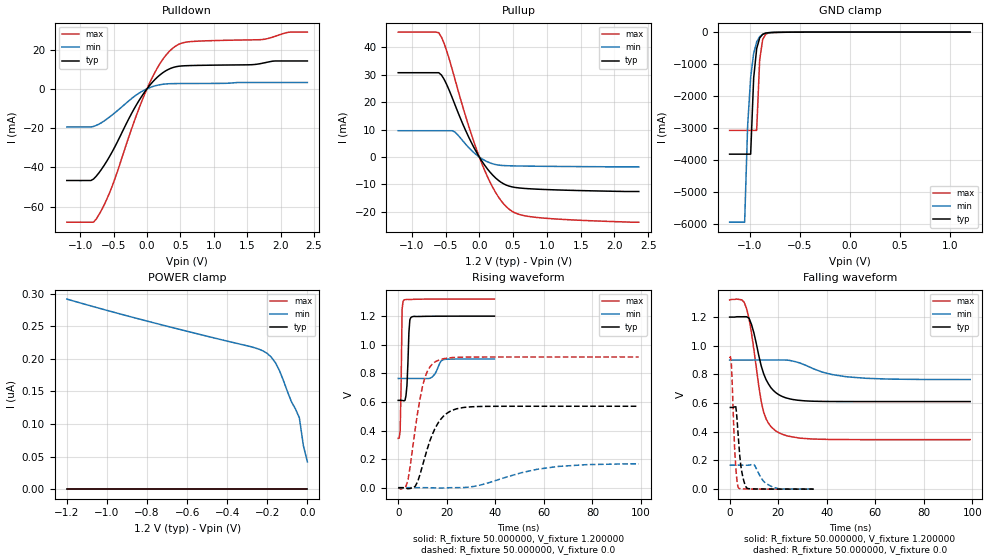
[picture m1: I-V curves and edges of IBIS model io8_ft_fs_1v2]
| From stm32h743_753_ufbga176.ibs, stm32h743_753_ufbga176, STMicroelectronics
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|   Model io8_ft_fs_1v2
[Model]  io8_ft_fs_1v2
Model_type I/O
Polarity   Non-Inverting
Enable   Active-Low
Vinl =   0.360000V
Vinh =   0.840000V
Vmeas =  0.600000V
Cref =   50.000000pF
Rref =   100.000000M
Vref =   0.0V
C_comp   2.988100pF   2.964800pF   3.005000pF
[Temperature Range]   25.000000   0.140000k   -40.000000
[Pullup Reference]   1.200000V   0.900000V   1.320000V
[Pulldown Reference]   0.0V   0.0V   0.0V
[POWER Clamp Reference]   1.200000V   0.900000V   1.320000V
[GND Clamp Reference]   0.0V   0.0V   0.0V
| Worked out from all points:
|   slope of the pulldown table from 0 to 0.18 V, typ, clamps not added: 27 ohm
|   slope of the pullup table from 0 to 0.18 V, typ, clamps not added: 29.5 ohm
|   GND clamp passes 1 mA (typ) near -0.49 V on its own axis
|   rising waveform, R_fixture 50.000000, V_fixture 1.200000: 20-80 % time 761ps typ, 2.3ns min, 530ps max; typ from 0.611 V to 1.2 V
|   rising waveform, R_fixture 50.000000, V_fixture 0.0: 20-80 % time 7.22ns typ, 22.2ns min, 5.17ns max; typ from 0 V to 0.57 V
|   falling waveform, R_fixture 50.000000, V_fixture 1.200000: 20-80 % time 6.09ns typ, 15.2ns min, 5.32ns max; typ from 1.2 V to 0.611 V
|   falling waveform, R_fixture 50.000000, V_fixture 0.0: 20-80 % time 1.91ns typ, 4.34ns min, 1.35ns max; typ from 0.57 V to 0 V
[Pulldown]
|Voltage   I(typ)   I(min)   I(max)
-1.2V     -46.68mA   -19.41mA   -67.88mA
-800mV    -45.91mA   -19.16mA   -67.88mA
-720mV    -42.8mA    -17.98mA   -64.13mA
-520mV    -32.02mA   -13.28mA   -49.45mA
-200mV    -10.65mA   -4.15mA    -17.41mA
0V        0A         0A         0A
200mV     7.248mA    2.118mA    13.13mA
400mV     10.95mA    2.646mA    21.07mA
600mV     11.77mA    2.694mA    23.82mA
1.72V     12.96mA    3.222mA    25.06mA
2.12V     14.16mA    3.222mA    28.8mA
2.4V      14.16mA    3.222mA    28.86mA
[Pullup]
|Voltage   I(typ)   I(min)   I(max)
-1.2V     30.77mA    9.592mA    45.6mA
-600mV    30.77mA    9.592mA    45.37mA
-520mV    28.34mA    9.592mA    41.42mA
-360mV    19.08mA    9.089mA    28.36mA
-160mV    7.421mA    3.53mA     11.51mA
40mV      -1.569mA   -666.4uA   -2.541mA
240mV     -7.625mA   -2.752mA   -12.9mA
360mV     -9.794mA   -3.127mA   -17.11mA
440mV     -10.62mA   -3.204mA   -19.03mA
600mV     -11.32mA   -3.288mA   -21.03mA
880mV     -11.77mA   -3.379mA   -22.14mA
2.36V     -12.6mA    -3.6mA     -23.8mA
[GND_clamp]
|Voltage   I(typ)   I(min)   I(max)
-1.2V     -3.825A    -5.957A    -3.08A
-1.05V    -3.825A    -5.957A    -3.08A
-1.02V    -3.825A    -2.931A    -3.08A
-990mV    -3.825A    -1.42A     -3.08A
-960mV    -1.441A    -668.9mA   -3.08A
-930mV    -519mA     -309.3mA   -3.08A
-900mV    -183.4mA   -143.6mA   -867.5mA
-870mV    -69.4mA    -69.06mA   -230.1mA
-840mV    -31.29mA   -35.69mA   -66.87mA
-810mV    -17.92mA   -20.54mA   -26.67mA
-750mV    -9.804mA   -9.737mA   -11.79mA
1.2V      0A         -18.75nA   0A
[POWER_clamp]
|Voltage   I(typ)   I(min)   I(max)
-1.2V     0A         291.7nA    0A
-780mV    0A         256.3nA    0A
-280mV    0A         218.4nA    0A
-200mV    0A         208.2nA    0A
-180mV    0A         202.6nA    0A
-160mV    0A         194.3nA    0A
-140mV    0A         182.4nA    0A
-80mV     0A         134.4nA    0A
-60mV     0A         123.5nA    0A
-40mV     0A         109.5nA    0A
-20mV     0A         67.03nA    0A
0V        0A         42.01nA    0A
[Ramp]
| variable   typ   min   max
dV/dt_r  0.34181/7.15799n   99.53933m/22.22840n 0.54869/5.12255n
dV/dt_f  0.35359/6.06417n   81.48600m/15.16385n 0.58421/5.28303n
R_load = 50.000000
[Rising Waveform]
R_fixture= 50.000000
V_fixture= 1.200000
V_fixture_min= 0.900000
V_fixture_max= 1.320000
|time   V(typ)   V(min)   V(max)
0s        610.7mV    764.2mV    345mV
800.8ps   610.7mV    764.2mV    395.4mV
1.201ns   610.8mV    764.2mV    721.2mV
1.602ns   610.5mV    764.2mV    1.247V
2.002ns   609.2mV    764.2mV    1.305V
3.604ns   715.1mV    764.2mV    1.317V
4.404ns   1.085V     764.2mV    1.317V
5.205ns   1.19V      764.2mV    1.317V
18.82ns   1.2V       896.5mV    1.319V
39.64ns   1.2V       900mV      1.319V
[Rising Waveform]
R_fixture= 50.000000
V_fixture= 0.0
V_fixture_min= 0.0
V_fixture_max= 0.0
|time   V(typ)   V(min)   V(max)
0s        543.4nV    1.116uV    -430uV
3.003ns   -2.257mV   1.111uV    1.397mV
4.004ns   -7.253mV   1.1uV      50.42mV
7.007ns   9.939mV    -535.5nV   410.7mV
11.01ns   215.1mV    39.42uV    770.8mV
16.02ns   440.4mV    -1.938mV   887.6mV
20.02ns   519.9mV    -723.2uV   905.5mV
27.03ns   561.4mV    1.301mV    913.3mV
65.07ns   569.7mV    146.8mV    914.2mV
99.1ns    569.7mV    166.8mV    914.2mV
[Falling Waveform]
R_fixture= 50.000000
V_fixture= 1.200000
V_fixture_min= 0.900000
V_fixture_max= 1.320000
|time   V(typ)   V(min)   V(max)
0s        1.2V       900mV      1.319V
5.005ns   1.202V     900mV      1.32V
7.007ns   1.202V     900mV      1.259V
9.009ns   1.149V     899.9mV    1.09V
12.01ns   932.3mV    901.1mV    719.3mV
14.01ns   805.2mV    900.9mV    537.5mV
16.02ns   733.2mV    900.7mV    459.4mV
20.02ns   661.1mV    900.8mV    395.8mV
48.05ns   610.9mV    784mV      345.6mV
99.1ns    610.7mV    764.2mV    345mV
[Falling Waveform]
R_fixture= 50.000000
V_fixture= 0.0
V_fixture_min= 0.0
V_fixture_max= 0.0
|time   V(typ)   V(min)   V(max)
0s        569.7mV    166.8mV    914.2mV
700.7ps   569.7mV    166.8mV    885mV
2.102ns   578.5mV    166.8mV    272.8mV
2.803ns   539.4mV    166.8mV    97.11mV
3.504ns   382.8mV    166.8mV    12.67mV
4.905ns   131.6mV    166.8mV    2.159mV
7.357ns   4.76mV     166.5mV    1.104mV
10.16ns   1.339mV    168.6mV    277.6uV
17.87ns   210.7uV    13.71mV    -269.3uV
34.68ns   543.4nV    1.116uV    -430uV
